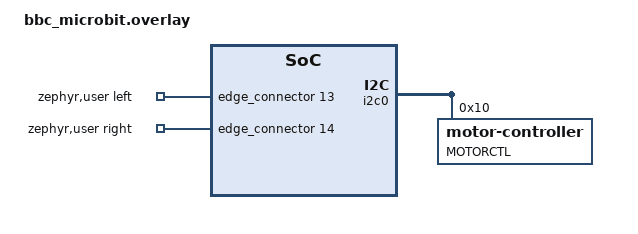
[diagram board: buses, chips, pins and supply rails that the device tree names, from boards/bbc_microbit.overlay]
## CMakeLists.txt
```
# SPDX-License-Identifier: Apache-2.0

cmake_minimum_required(VERSION 3.15.7)

find_package(Zephyr REQUIRED HINTS $ENV{ZEPHYR_BASE})
project(robot)

FILE(GLOB app_sources src/*.c)
target_sources(app PRIVATE ${app_sources})
```

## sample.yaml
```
sample:
  name: BBC micro:bit Line follower robot
tests:
  sample.board.bbc_microbit.line_follower_robot:
    platform_allow: bbc_microbit
    tags:
      - microbit
      - line-follower
      - robot
      - car
```

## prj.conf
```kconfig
CONFIG_GPIO=y
CONFIG_I2C=y
CONFIG_PRINTK=y

CONFIG_SYS_TIMEOUT_LEGACY_API=n
```

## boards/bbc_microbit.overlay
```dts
/*
 * Copyright (c) 2022 Nordic Semicondiuctor ASA
 * SPDX-License-Identifier: Apache-2.0
 */

/ {
	zephyr,user {
		left-gpios = <&edge_connector 13 GPIO_ACTIVE_HIGH>;
		right-gpios = <&edge_connector 14 GPIO_ACTIVE_HIGH>;
	};
};

&i2c0 {
	motorctl: motor-controller@10 {
		compatible = "motor-controller";
		label = "MOTORCTL";
		reg = <0x10>;
	};
};
```

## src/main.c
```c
/*
 * Copyright (c) 2019 Maksim Masalski maxxliferobot@gmail.com
 * A Line follower robot program using DFRobot Maqueen Robot and microbit
 * SPDX-License-Identifier: Apache-2.0
 */

#include <zephyr/kernel.h>
#include <zephyr/sys/printk.h>
#include <zephyr/drivers/gpio.h>
#include <zephyr/drivers/i2c.h>
#include <zephyr/device.h>

enum motor {
	MOTOR_LEFT,
	MOTOR_RIGHT,
};

static const struct gpio_dt_spec left_gpio =
	GPIO_DT_SPEC_GET(DT_PATH(zephyr_user), left_gpios);
static const struct gpio_dt_spec right_gpio =
	GPIO_DT_SPEC_GET(DT_PATH(zephyr_user), right_gpios);

static const struct i2c_dt_spec motorctl =
	I2C_DT_SPEC_GET(DT_NODELABEL(motorctl));

static struct gpio_callback left_cb;
static struct gpio_callback right_cb;

static int left_line;
static int right_line;

static void left_irq(const struct device *dev, struct gpio_callback *cb,
		     uint32_t pins)
{
	left_line = gpio_pin_get_dt(&left_gpio);
}

static void right_irq(const struct device *dev, struct gpio_callback *cb,
		      uint32_t pins)
{
	right_line = gpio_pin_get_dt(&right_gpio);
}

static void motor_control(enum motor motor, int16_t speed)
{
	uint8_t buf[3];

	if (motor == MOTOR_LEFT) {
		buf[0] = 0x00U;
	} else {
		buf[0] = 0x02U;
	}

	if (speed < 0) {
		buf[1] = 0x01U;
		buf[2] = (uint8_t)(speed * (-1));
	} else {
		buf[1] = 0x00U;
		buf[2] = (uint8_t)speed;
	}

	i2c_write_dt(&motorctl, buf, sizeof(buf));
}

/* Line follower algorithm for the robot */
static void line_follow(void)
{
	if ((left_line == 0) && (right_line == 0)) {
		motor_control(MOTOR_LEFT, 200);
		motor_control(MOTOR_RIGHT, 200);
	} else {
		if ((left_line == 0) && (right_line == 1)) {
			motor_control(MOTOR_LEFT, 0);
			motor_control(MOTOR_RIGHT, 200);
			if ((left_line == 1) && (right_line == 1)) {
				motor_control(MOTOR_LEFT, 0);
				motor_control(MOTOR_RIGHT, 200);
			}
		} else {
			if ((left_line == 1) && (right_line == 0)) {
				motor_control(MOTOR_LEFT, 200);
				motor_control(MOTOR_RIGHT, 0);
				if ((left_line == 1) &&
					(right_line == 1)) {
					motor_control(MOTOR_LEFT, 200);
					motor_control(MOTOR_RIGHT, 0);
				}
				if ((left_line == 1) && (right_line == 0)) {
					motor_control(MOTOR_LEFT, 200);
				} else {
					motor_control(MOTOR_RIGHT, 0);
				}
			}
		}
	}
}

int main(void)
{
	if (!gpio_is_ready_dt(&left_gpio) ||
	    !gpio_is_ready_dt(&right_gpio)) {
		printk("Left/Right GPIO controllers not ready.\n");
		return 0;
	}

	if (!device_is_ready(motorctl.bus)) {
		printk("Motor controller I2C bus not ready.\n");
		return 0;
	}

	/* Setup gpio to read data from digital line sensors of the robot */
	gpio_pin_configure_dt(&left_gpio, GPIO_INPUT);
	gpio_pin_configure_dt(&right_gpio, GPIO_INPUT);

	gpio_pin_interrupt_configure_dt(&left_gpio, GPIO_INT_EDGE_BOTH);
	gpio_pin_interrupt_configure_dt(&right_gpio, GPIO_INT_EDGE_BOTH);

	gpio_init_callback(&left_cb, left_irq, BIT(left_gpio.pin));
	gpio_add_callback(left_gpio.port, &left_cb);
	gpio_init_callback(&right_cb, right_irq, BIT(right_gpio.pin));
	gpio_add_callback(right_gpio.port, &right_cb);

	while (1) {
		line_follow();
	}
	return 0;
}
```
